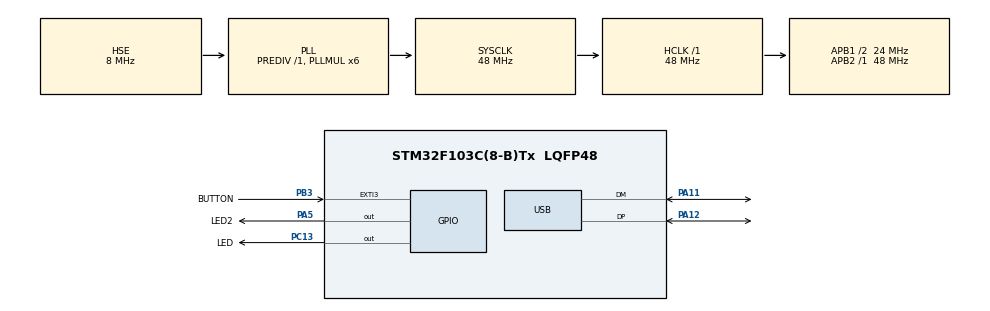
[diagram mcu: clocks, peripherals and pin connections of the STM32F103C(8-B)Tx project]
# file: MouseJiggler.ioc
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Mcu.Family=STM32F1
Mcu.Name=STM32F103C(8-B)Tx
Mcu.Package=LQFP48
NVIC.EXTI3_IRQn=true\:0\:0\:false\:false\:true\:true\:true\:true
NVIC.PVD_IRQn=true\:0\:0\:false\:false\:true\:true\:true\:true
NVIC.PriorityGroup=NVIC_PRIORITYGROUP_4
NVIC.TIM2_IRQn=true\:0\:0\:false\:false\:true\:true\:true\:true
NVIC.TIM3_IRQn=true\:0\:0\:false\:false\:true\:true\:true\:true
NVIC.USB_LP_CAN1_RX0_IRQn=true\:0\:0\:false\:false\:true\:false\:true\:true
PA11.Mode=Device
PA11.Signal=USB_DM
PA12.Mode=Device
PA12.Signal=USB_DP
PA13.Mode=Serial_Wire
PA13.Signal=SYS_JTMS-SWDIO
PA14.Mode=Serial_Wire
PA14.Signal=SYS_JTCK-SWCLK
PA5.GPIO_Label=LED2
PA5.GPIO_PuPd=GPIO_PULLDOWN
PA5.Signal=GPIO_Output
PB3.GPIO_Label=BUTTON
PB3.GPIO_ModeDefaultEXTI=GPIO_MODE_IT_RISING
PB3.GPIO_PuPd=GPIO_PULLUP
PB3.Signal=GPXTI3
PC13-TAMPER-RTC.GPIO_Label=LED
PC13-TAMPER-RTC.GPIO_PuPd=GPIO_PULLUP
PC13-TAMPER-RTC.PinState=GPIO_PIN_RESET
PC13-TAMPER-RTC.Signal=GPIO_Output
PD0-OSC_IN.Mode=HSE-External-Oscillator
PD0-OSC_IN.Signal=RCC_OSC_IN
PD1-OSC_OUT.Mode=HSE-External-Oscillator
PD1-OSC_OUT.Signal=RCC_OSC_OUT
ProjectManager.HeapSize=0x200
ProjectManager.StackSize=0x400
ProjectManager.TargetToolchain=STM32CubeIDE
RCC.AHBFreq_Value=48000000
RCC.APB1CLKDivider=RCC_HCLK_DIV2
RCC.APB1Freq_Value=24000000
RCC.APB1TimFreq_Value=48000000
RCC.APB2Freq_Value=48000000
RCC.APB2TimFreq_Value=48000000
RCC.HCLKFreq_Value=48000000
RCC.PLLMUL=RCC_PLL_MUL6
RCC.SYSCLKFreq_VALUE=48000000
RCC.SYSCLKSource=RCC_SYSCLKSOURCE_PLLCLK
RCC.USBFreq_Value=48000000
TIM2.AutoReloadPreload=TIM_AUTORELOAD_PRELOAD_DISABLE
TIM2.Period=8000
TIM2.Prescaler=6000
TIM3.AutoReloadPreload=TIM_AUTORELOAD_PRELOAD_DISABLE
TIM3.Period=10000
TIM3.Prescaler=2000
USB_DEVICE.CLASS_NAME_FS=HID
USB_DEVICE.MANUFACTURER_STRING=LuizVigiato
USB_DEVICE.PRODUCT_STRING_HID_FS=MouseLZJiggler
USB_DEVICE.VirtualMode=Hid
USB_DEVICE.VirtualModeFS=Hid_FS
VP_TIM2_VS_ClockSourceINT.Mode=Internal
VP_TIM3_VS_ClockSourceINT.Mode=Internal
VP_USB_DEVICE_VS_USB_DEVICE_HID_FS.Mode=HID_FS
board=custom

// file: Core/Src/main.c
/* USER CODE BEGIN Header */
/**
  ******************************************************************************
  * @file           : main.c
  * @brief          : Main program body
  ******************************************************************************
  * @attention
  *
  * Copyright (c) 2023 STMicroelectronics.
  * All rights reserved.
  *
  * This software is licensed under terms that can be found in the LICENSE file
  * in the root directory of this software component.
  * If no LICENSE file comes with this software, it is provided AS-IS.
  *
  ******************************************************************************
  */
/* USER CODE END Header */
#include "main.h"
#include "usb_device.h"

/* USER CODE BEGIN Includes */
#include "usbd_hid.h"
/* USER CODE END Includes */

/* USER CODE BEGIN PTD */
typedef struct{
	uint8_t button;
	int8_t x;
	int8_t y;
	int8_t wheel;
} mouseHID;
/* USER CODE END PTD */

TIM_HandleTypeDef htim2;
TIM_HandleTypeDef htim3;

/* USER CODE BEGIN PV */
extern USBD_HandleTypeDef hUsbDeviceFS;

mouseHID mousehid = {0,0,0,0};

uint8_t intervaloSeg = 2;
uint8_t contador = 0;
uint8_t movimento = 0;
uint8_t fixo = 2;
uint8_t ponteiro = 1;
uint8_t debounce = 0;

/* USER CODE END PV */

void SystemClock_Config(void);
static void MX_GPIO_Init(void);
static void MX_TIM3_Init(void);
static void MX_TIM2_Init(void);

int main(void)
{

  /* MCU Configuration--------------------------------------------------------*/

  /* Reset of all peripherals, Initializes the Flash interface and the Systick. */
  HAL_Init();

  /* Configure the system clock */
  SystemClock_Config();

  /* Initialize all configured peripherals */
  MX_GPIO_Init();
  MX_USB_DEVICE_Init();
  MX_TIM3_Init();
  MX_TIM2_Init();
  /* USER CODE BEGIN 2 */

  HAL_TIM_Base_Start_IT(&htim2);

  srand(12345);
  /* USER CODE END 2 */

  /* Infinite loop */
  while (1)
  {

  }
}

void SystemClock_Config(void)
{
  RCC_OscInitTypeDef RCC_OscInitStruct = {0};
  RCC_ClkInitTypeDef RCC_ClkInitStruct = {0};
  RCC_PeriphCLKInitTypeDef PeriphClkInit = {0};

  /** Initializes the RCC Oscillators according to the specified parameters
  * in the RCC_OscInitTypeDef structure.
  */
  RCC_OscInitStruct.OscillatorType = RCC_OSCILLATORTYPE_HSE;
  RCC_OscInitStruct.HSEState = RCC_HSE_ON;
  RCC_OscInitStruct.HSEPredivValue = RCC_HSE_PREDIV_DIV1;
  RCC_OscInitStruct.HSIState = RCC_HSI_ON;
  RCC_OscInitStruct.PLL.PLLState = RCC_PLL_ON;
  RCC_OscInitStruct.PLL.PLLSource = RCC_PLLSOURCE_HSE;
  RCC_OscInitStruct.PLL.PLLMUL = RCC_PLL_MUL6;
  if (HAL_RCC_OscConfig(&RCC_OscInitStruct) != HAL_OK)
  {
    Error_Handler();
  }

  /** Initializes the CPU, AHB and APB buses clocks
  */
  RCC_ClkInitStruct.ClockType = RCC_CLOCKTYPE_HCLK|RCC_CLOCKTYPE_SYSCLK
                              |RCC_CLOCKTYPE_PCLK1|RCC_CLOCKTYPE_PCLK2;
  RCC_ClkInitStruct.SYSCLKSource = RCC_SYSCLKSOURCE_PLLCLK;
  RCC_ClkInitStruct.AHBCLKDivider = RCC_SYSCLK_DIV1;
  RCC_ClkInitStruct.APB1CLKDivider = RCC_HCLK_DIV2;
  RCC_ClkInitStruct.APB2CLKDivider = RCC_HCLK_DIV1;

  if (HAL_RCC_ClockConfig(&RCC_ClkInitStruct, FLASH_LATENCY_1) != HAL_OK)
  {
    Error_Handler();
  }
  PeriphClkInit.PeriphClockSelection = RCC_PERIPHCLK_USB;
  PeriphClkInit.UsbClockSelection = RCC_USBCLKSOURCE_PLL;
  if (HAL_RCCEx_PeriphCLKConfig(&PeriphClkInit) != HAL_OK)
  {
    Error_Handler();
  }
}

static void MX_TIM2_Init(void)
{

  TIM_ClockConfigTypeDef sClockSourceConfig = {0};
  TIM_MasterConfigTypeDef sMasterConfig = {0};

  htim2.Instance = TIM2;
  htim2.Init.Prescaler = 6000;
  htim2.Init.CounterMode = TIM_COUNTERMODE_UP;
  htim2.Init.Period = 8000;
  htim2.Init.ClockDivision = TIM_CLOCKDIVISION_DIV1;
  htim2.Init.AutoReloadPreload = TIM_AUTORELOAD_PRELOAD_DISABLE;
  if (HAL_TIM_Base_Init(&htim2) != HAL_OK)
  {
    Error_Handler();
  }
  sClockSourceConfig.ClockSource = TIM_CLOCKSOURCE_INTERNAL;
  if (HAL_TIM_ConfigClockSource(&htim2, &sClockSourceConfig) != HAL_OK)
  {
    Error_Handler();
  }
  sMasterConfig.MasterOutputTrigger = TIM_TRGO_RESET;
  sMasterConfig.MasterSlaveMode = TIM_MASTERSLAVEMODE_DISABLE;
  if (HAL_TIMEx_MasterConfigSynchronization(&htim2, &sMasterConfig) != HAL_OK)
  {
    Error_Handler();
  }

}

static void MX_TIM3_Init(void)
{

  TIM_ClockConfigTypeDef sClockSourceConfig = {0};
  TIM_MasterConfigTypeDef sMasterConfig = {0};

  htim3.Instance = TIM3;
  htim3.Init.Prescaler = 2000;
  htim3.Init.CounterMode = TIM_COUNTERMODE_UP;
  htim3.Init.Period = 10000;
  htim3.Init.ClockDivision = TIM_CLOCKDIVISION_DIV1;
  htim3.Init.AutoReloadPreload = TIM_AUTORELOAD_PRELOAD_DISABLE;
  if (HAL_TIM_Base_Init(&htim3) != HAL_OK)
  {
    Error_Handler();
  }
  sClockSourceConfig.ClockSource = TIM_CLOCKSOURCE_INTERNAL;
  if (HAL_TIM_ConfigClockSource(&htim3, &sClockSourceConfig) != HAL_OK)
  {
    Error_Handler();
  }
  sMasterConfig.MasterOutputTrigger = TIM_TRGO_RESET;
  sMasterConfig.MasterSlaveMode = TIM_MASTERSLAVEMODE_DISABLE;
  if (HAL_TIMEx_MasterConfigSynchronization(&htim3, &sMasterConfig) != HAL_OK)
  {
    Error_Handler();
  }

}

static void MX_GPIO_Init(void)
{
  GPIO_InitTypeDef GPIO_InitStruct = {0};

  /* GPIO Ports Clock Enable */
  __HAL_RCC_GPIOC_CLK_ENABLE();
  __HAL_RCC_GPIOD_CLK_ENABLE();
  __HAL_RCC_GPIOA_CLK_ENABLE();
  __HAL_RCC_GPIOB_CLK_ENABLE();

  /*Configure GPIO pin Output Level */
  HAL_GPIO_WritePin(LED_GPIO_Port, LED_Pin, GPIO_PIN_RESET);

  /*Configure GPIO pin Output Level */
  HAL_GPIO_WritePin(LED2_GPIO_Port, LED2_Pin, GPIO_PIN_RESET);

  /*Configure GPIO pin : LED_Pin */
  GPIO_InitStruct.Pin = LED_Pin;
  GPIO_InitStruct.Mode = GPIO_MODE_OUTPUT_PP;
  GPIO_InitStruct.Pull = GPIO_PULLUP;
  GPIO_InitStruct.Speed = GPIO_SPEED_FREQ_LOW;
  HAL_GPIO_Init(LED_GPIO_Port, &GPIO_InitStruct);

  /*Configure GPIO pin : LED2_Pin */
  GPIO_InitStruct.Pin = LED2_Pin;
  GPIO_InitStruct.Mode = GPIO_MODE_OUTPUT_PP;
  GPIO_InitStruct.Pull = GPIO_PULLDOWN;
  GPIO_InitStruct.Speed = GPIO_SPEED_FREQ_LOW;
  HAL_GPIO_Init(LED2_GPIO_Port, &GPIO_InitStruct);

  /*Configure GPIO pin : BUTTON_Pin */
  GPIO_InitStruct.Pin = BUTTON_Pin;
  GPIO_InitStruct.Mode = GPIO_MODE_IT_RISING;
  GPIO_InitStruct.Pull = GPIO_PULLUP;
  HAL_GPIO_Init(BUTTON_GPIO_Port, &GPIO_InitStruct);

  /* EXTI interrupt init*/
  HAL_NVIC_SetPriority(EXTI3_IRQn, 0, 0);
  HAL_NVIC_EnableIRQ(EXTI3_IRQn);

}

/* USER CODE BEGIN 4 */

void HAL_GPIO_EXTI_Callback(uint16_t GPIO_Pin){
	HAL_TIM_Base_Start_IT(&htim3);
	HAL_GPIO_WritePin(LED2_GPIO_Port, LED2_Pin, GPIO_PIN_SET);
	if(ponteiro == 1 && debounce == 0){
		//Pause movimento mouse
		HAL_TIM_Base_Stop_IT(&htim2);
		HAL_GPIO_WritePin(LED_GPIO_Port, LED_Pin, GPIO_PIN_SET);
		debounce = 1;
		ponteiro = 0;
	} else {
		//Start Movimento mouse
		HAL_TIM_Base_Start_IT(&htim2);
		ponteiro = 1;
	}

}

void HAL_TIM_PeriodElapsedCallback(TIM_HandleTypeDef *htimc){

	if(htimc == &htim2){
		HAL_GPIO_TogglePin(LED_GPIO_Port, LED_Pin); //Alterna led da placa

		if(intervaloSeg <= contador){
			if(movimento == 0){
				mousehid.x = rand();
				mousehid.y = rand();
				movimento = 1;
			} else {
				mousehid.x = -(rand());
				mousehid.y = -(rand());
				movimento = 0;
			}
			contador = 0;
			USBD_HID_SendReport(&hUsbDeviceFS,(uint8_t *) &mousehid,(uint16_t)sizeof(mousehid));
		}
		contador++;
	}
	if(htimc == &htim3){
		HAL_TIM_Base_Stop_IT(&htim3);
		HAL_GPIO_WritePin(LED2_GPIO_Port, LED2_Pin, GPIO_PIN_RESET);
		debounce = 0;
	}

}

/* USER CODE END 4 */

void Error_Handler(void)
{
  __disable_irq();
  while (1)
  {
  }
}
